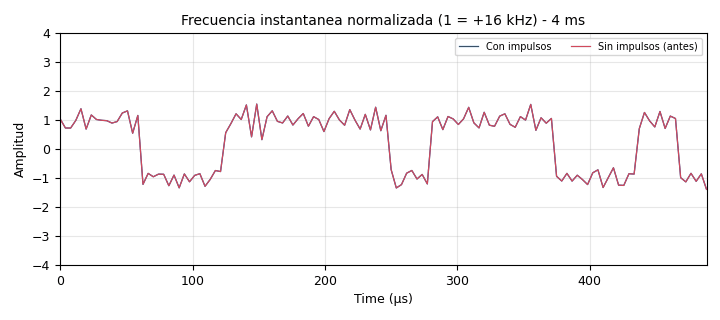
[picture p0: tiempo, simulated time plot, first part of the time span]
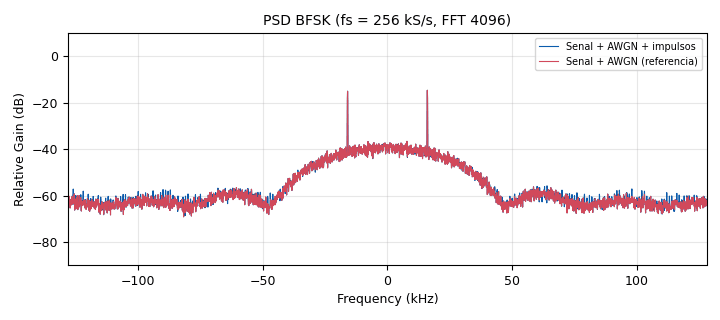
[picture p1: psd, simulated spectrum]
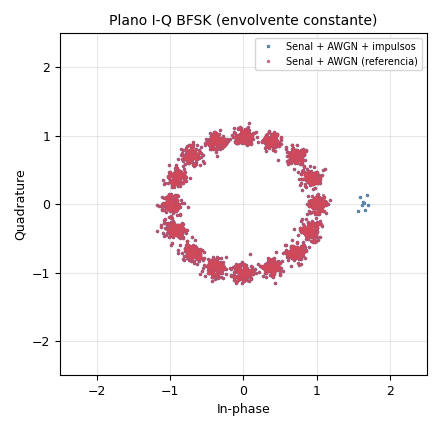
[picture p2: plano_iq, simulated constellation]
options:
  parameters:
    author: Luis Arley Martinez Caballero - Johan Sebastian Gomez Hernandez
    description: BFSK de fase continua, Rb = 32 kb/s, desviacion +-16 kHz; mismos impulsos que el caso BPSK.
    generate_options: qt_gui
    id: Enlace_Beta_Impulsivo_BFSK
    output_language: python
    title: S1 Telemetria industrial - BFSK con perturbacion impulsiva (comparacion)
  states: {}

blocks:
- name: Rs
  id: variable
  parameters:
    comment: 'Ficha tecnica S1: 32 ksym/s'
    value: '32000'
  states: {}
- name: Sps
  id: variable
  parameters:
    value: '8'
  states: {}
- name: samp_rate
  id: variable
  parameters:
    comment: fs = 256 kS/s
    value: Rs*Sps
  states: {}
- name: N_imp
  id: variable
  parameters:
    comment: 'Periodo del impulso: 256 muestras = 1 ms'
    value: '256'
  states: {}
- name: noise_amp
  id: variable_qtgui_range
  parameters:
    label: Ruido base AWGN (noise_amp)
    start: '0'
    step: '0.01'
    stop: '1'
    value: '0.1'
  states: {}
- name: A_imp
  id: variable_qtgui_range
  parameters:
    label: Amplitud del impulso (0 / 0.3 / 0.6 / 1.0)
    start: '0'
    step: '0.05'
    stop: '1.5'
    value: '0.6'
  states: {}
- name: import_0
  id: import
  parameters:
    imports: import math
  states: {}
- name: fuente_bits
  id: analog_random_source_x
  parameters:
    comment: Bits aleatorios 0/1 (cadena del GRC base)
    type: byte
    min: '0'
    max: '2'
    num_samps: '65536'
    repeat: 'True'
  states: {}
- name: pack_bits
  id: blocks_pack_k_bits_bb
  parameters:
    k: '8'
  states: {}
- name: unpack_bits
  id: blocks_packed_to_unpacked_xx
  parameters:
    type: byte
    bits_per_chunk: bps
    endianness: gr.GR_MSB_FIRST
  states: {}
- name: ruido
  id: analog_noise_source_x
  parameters:
    comment: AWGN base del GRC original (noise_amp = 0.10)
    type: complex
    noise_type: analog.GR_GAUSSIAN
    amp: noise_amp
    seed: '0'
  states: {}
- name: impulsos
  id: blocks_vector_source_x
  parameters:
    comment: 'Perturbacion impulsiva: 255 ceros y un impulso (cada 1 ms)'
    type: complex
    vector: '[0j]*(N_imp-1) + [A_imp+0j]'
    repeat: 'True'
  states: {}
- name: sumar_ruido
  id: blocks_add_xx
  parameters:
    comment: 'Add original: senal + AWGN'
    type: complex
  states: {}
- name: sumar_impulsos
  id: blocks_add_xx
  parameters:
    comment: 'Segundo Add: senal + AWGN + impulsos (despues del ruido, como pide la guia)'
    type: complex
  states: {}
- name: bps
  id: variable
  parameters:
    value: '1'
  states: {}
- name: Rb
  id: variable
  parameters:
    comment: Rb = 32 kb/s
    value: Rs*bps
  states: {}
- name: desv
  id: variable
  parameters:
    comment: Desviacion +-16 kHz (separacion de tonos = Rb)
    value: '16000'
  states: {}
- name: nrz
  id: digital_chunks_to_symbols_xx
  parameters:
    comment: bit -> -1/+1
    dimension: '1'
    in_type: byte
    out_type: float
    symbol_table: (-1.0, 1.0)
  states: {}
- name: repetir
  id: blocks_repeat
  parameters:
    type: float
    interp: Sps
  states: {}
- name: vco
  id: analog_frequency_modulator_fc
  parameters:
    comment: 'Modulador FM: tonos en -16 kHz y +16 kHz'
    sensitivity: 2*math.pi*desv/samp_rate
  states: {}
- name: throttle
  id: blocks_throttle
  parameters:
    type: complex
    samples_per_second: samp_rate
  states: {}
- name: fi_antes
  id: analog_quadrature_demod_cf
  parameters:
    comment: Frecuencia instantanea normalizada (+-1 = +-16 kHz)
    gain: samp_rate/(2*math.pi*desv)
  states: {}
- name: fi_despues
  id: analog_quadrature_demod_cf
  parameters:
    gain: samp_rate/(2*math.pi*desv)
  states: {}
- name: tiempo
  id: qtgui_time_sink_x
  parameters:
    grid: 'True'
    label1: Con impulsos
    label2: Sin impulsos (antes)
    name: '"Frecuencia instantanea normalizada (1 = +16 kHz) - 4 ms"'
    nconnections: '2'
    size: '1024'
    srate: samp_rate
    type: float
    ylabel: Amplitud
    ymax: '4'
    ymin: '-4'
  states: {}
- name: psd
  id: qtgui_freq_sink_x
  parameters:
    average: '0.05'
    bw: samp_rate
    fc: '0'
    fftsize: '4096'
    grid: 'True'
    label1: Senal + AWGN + impulsos
    label2: Senal + AWGN (referencia)
    name: '"PSD BFSK (fs = 256 kS/s, FFT 4096)"'
    nconnections: '2'
    type: complex
    ymin: '-90'
  states: {}
- name: plano_iq
  id: qtgui_const_sink_x
  parameters:
    grid: 'True'
    label1: Senal + AWGN + impulsos
    label2: Senal + AWGN (referencia)
    marker2: '-1'
    name: '"Plano I-Q BFSK (envolvente constante)"'
    nconnections: '2'
    size: '2048'
    type: complex
    xmax: '2.5'
    xmin: '-2.5'
    ymax: '2.5'
    ymin: '-2.5'
  states: {}

connections:
- [fuente_bits, '0', pack_bits, '0']
- [pack_bits, '0', unpack_bits, '0']
- [unpack_bits, '0', nrz, '0']
- [nrz, '0', repetir, '0']
- [repetir, '0', vco, '0']
- [vco, '0', throttle, '0']
- [throttle, '0', sumar_ruido, '0']
- [ruido, '0', sumar_ruido, '1']
- [sumar_ruido, '0', sumar_impulsos, '0']
- [impulsos, '0', sumar_impulsos, '1']
- [sumar_ruido, '0', fi_antes, '0']
- [sumar_impulsos, '0', fi_despues, '0']
- [fi_despues, '0', tiempo, '0']
- [fi_antes, '0', tiempo, '1']
- [sumar_impulsos, '0', psd, '0']
- [sumar_ruido, '0', psd, '1']
- [sumar_impulsos, '0', plano_iq, '0']
- [sumar_ruido, '0', plano_iq, '1']

metadata:
  file_format: 1
  grc_version: 3.10.11.0
